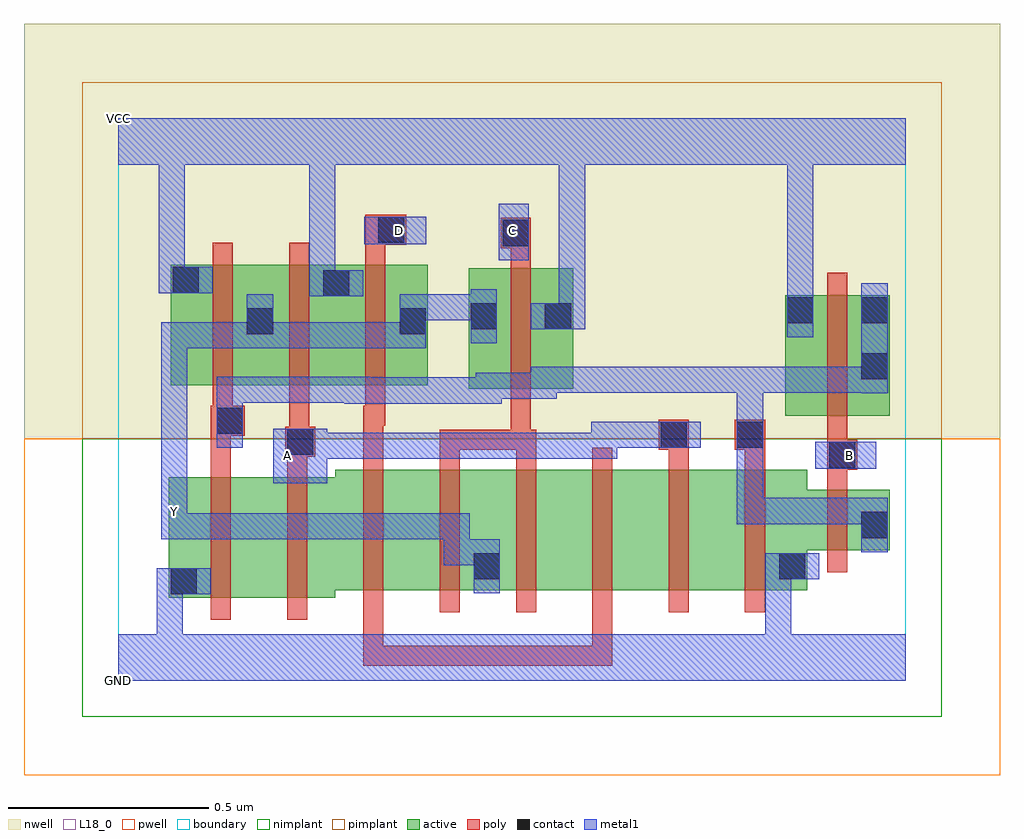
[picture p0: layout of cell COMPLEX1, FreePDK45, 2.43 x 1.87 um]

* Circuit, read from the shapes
.subckt COMPLEX1 A B C D GND VCC Y
M1 n1 n2 GND VSUBS nfet w=0.3u l=0.05u
M2 n3 A n1 VSUBS nfet w=0.3u l=0.05u
M3 n4 D n3 VSUBS nfet w=0.3u l=0.05u
M4 Y C n4 VSUBS nfet w=0.3u l=0.05u
M5 n5 C Y VSUBS nfet w=0.3u l=0.05u
M6 n6 D n5 VSUBS nfet w=0.3u l=0.05u
M7 n7 A n6 VSUBS nfet w=0.3u l=0.05u
M8 GND n2 n7 VSUBS nfet w=0.3u l=0.05u
M9 n2 B GND VSUBS nfet w=0.15u l=0.05u
M10 Y n2 VCC n8 pfet w=0.3u l=0.05u
M11 VCC A Y n8 pfet w=0.3u l=0.05u
M12 Y D VCC n8 pfet w=0.3u l=0.05u
M13 VCC C Y n8 pfet w=0.3u l=0.05u
M14 n2 B VCC n8 pfet w=0.3u l=0.05u
.ends

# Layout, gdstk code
import gdstk
lib = gdstk.Library(unit=1e-6, precision=1e-09)
def R(c, l, rs):  # rectangles x0, y0, x1, y1
    for r in rs: c.add(gdstk.rectangle(r[:2], r[2:], *l))
def A(c, l, x, y, w, h, nx, ny, dx, dy):  # array of equal rectangles
    R(c, l, [(x+i*dx, y+j*dy, x+i*dx+w, y+j*dy+h) for i in range(nx) for j in range(ny)])
active = (1, 0)
pwell = (2, 0)
nwell = (3, 0)
nimplant = (4, 0)
pimplant = (5, 0)
poly = (9, 0)
contact = (10, 0)
metal1 = (11, 0)
L18_0 = (18, 0)
boundary = (235, 0)

complex1 = lib.new_cell('COMPLEX1')
R(complex1, active, [(0.125,0.207,0.35,0.507), (0.35,0.207,0.54,0.507), (0.125,0.21,0.2,0.507), (0.54,0.225,0.73,0.525), (0.73,0.225,0.955,0.525), (0.88,0.225,1.11,0.525), (0.88,0.225,0.955,0.517), (1.11,0.225,1.3,0.525), (1.3,0.225,1.49,0.525), (1.49,0.225,1.715,0.525), (1.64,0.247,1.715,0.325), (1.64,0.325,1.92,0.475), (1.845,0.35,1.92,0.475), (1.66,0.66,1.735,0.96), (1.66,0.66,1.92,0.96), (1.845,0.66,1.92,0.96), (0.872,0.727,1.132,1.027), (0.872,0.727,0.947,0.967), (1.057,0.727,1.132,0.967), (0.13,0.735,0.205,1.035), (0.13,0.735,0.39,1.035), (0.315,0.735,0.58,1.035), (0.505,0.735,0.77,1.035), (0.695,0.735,0.77,0.957), (0.505,0.832,0.58,1.027), (0.315,0.857,0.39,0.957)])
R(complex1, pwell, [(-0.235,-0.235,2.195,0.602)])
R(complex1, nwell, [(-0.235,0.602,2.195,1.635)])
R(complex1, nimplant, [(-0.09,-0.09,2.05,0.602)])
R(complex1, pimplant, [(-0.09,0.602,2.05,1.49)])
A(complex1, poly, 0.61, 0.17, 0.05, 0.41, 6, 1, 0.19, 0)
A(complex1, poly, 0.235, 0.68, 0.05, 0.41, 3, 1, 0.19, 0)
R(complex1, poly, [(0.61,0.037,0.66,0.22), (0.61,0.037,0.66,0.087), (0.61,0.037,0.66,0.087), (0.61,0.037,0.66,0.087), (0.61,0.037,0.87,0.087), (0.82,0.037,0.87,0.087), (0.82,0.037,0.87,0.087), (0.82,0.037,0.87,0.087), (0.82,0.037,1.097,0.087), (1.047,0.037,1.23,0.087), (1.047,0.037,1.097,0.087), (1.047,0.037,1.097,0.087), (1.047,0.037,1.097,0.087), (1.18,0.037,1.23,0.22), (1.18,0.037,1.23,0.087), (0.23,0.152,0.28,0.562), (0.42,0.152,0.47,0.562), (1.765,0.27,1.815,0.53), (1.765,0.48,1.815,0.575), (0.23,0.512,0.28,0.66), (0.42,0.512,0.47,0.607), (1.765,0.525,1.84,0.6), (0.61,0.53,0.66,0.685), (0.8,0.53,0.85,0.625), (0.99,0.53,1.04,0.625), (1.37,0.53,1.42,0.625), (1.56,0.53,1.61,0.625), (1.765,0.55,1.815,0.655), (0.415,0.557,0.49,0.632), (0.8,0.575,0.85,0.625), (0.8,0.575,0.85,0.625), (0.8,0.575,0.85,0.625), (0.8,0.575,1.027,0.625), (0.977,0.575,1.027,0.722), (0.977,0.575,1.04,0.625), (1.345,0.575,1.42,0.65), (1.535,0.575,1.61,0.65), (0.425,0.582,0.475,0.73), (1.765,0.605,1.815,1.015), (0.23,0.61,0.315,0.685), (0.235,0.635,0.285,0.73), (0.61,0.635,0.665,0.685), (0.615,0.635,0.665,0.73), (0.977,0.672,1.027,1.082), (0.977,1.032,1.027,1.127), (0.615,1.04,0.665,1.135), (0.952,1.077,1.027,1.152), (0.615,1.085,0.717,1.16)])
R(complex1, contact, [(0.13,0.215,0.195,0.28), (0.885,0.252,0.95,0.317), (1.645,0.252,1.71,0.317), (1.85,0.355,1.915,0.42), (1.77,0.53,1.835,0.595), (0.42,0.562,0.485,0.627), (1.35,0.58,1.415,0.645), (1.54,0.58,1.605,0.645), (0.245,0.615,0.31,0.68), (1.85,0.75,1.915,0.815), (0.32,0.862,0.385,0.927), (0.7,0.862,0.765,0.927), (0.877,0.875,0.942,0.94), (1.062,0.875,1.127,0.94), (1.665,0.89,1.73,0.955), (1.85,0.89,1.915,0.955), (0.51,0.957,0.575,1.022), (0.135,0.965,0.2,1.03), (0.957,1.082,1.022,1.147), (0.647,1.09,0.712,1.155)])
R(complex1, metal1, [(0,0,1.96,0.115), (0.095,0.05,0.16,0.28), (1.61,0.05,1.675,0.317), (0.095,0.215,0.16,0.28), (0.095,0.215,0.16,0.28), (0.095,0.215,0.23,0.28), (0.885,0.217,0.95,0.352), (1.61,0.252,1.675,0.317), (1.61,0.252,1.675,0.317), (1.61,0.252,1.745,0.317), (0.81,0.287,0.95,0.352), (0.81,0.287,0.875,0.417), (1.85,0.32,1.915,0.455), (0.107,0.352,0.172,0.417), (0.107,0.352,0.172,0.417), (0.107,0.352,0.172,0.417), (0.107,0.352,0.172,0.417), (0.107,0.352,0.172,0.487), (0.107,0.352,0.352,0.417), (0.287,0.352,0.352,0.417), (0.287,0.352,0.522,0.417), (0.457,0.352,0.522,0.417), (0.457,0.352,0.522,0.417), (0.457,0.352,0.522,0.417), (0.457,0.352,0.737,0.417), (0.672,0.352,0.737,0.417), (0.672,0.352,0.765,0.417), (0.7,0.352,0.765,0.417), (0.7,0.352,0.875,0.417), (1.54,0.39,1.605,0.455), (1.54,0.39,1.915,0.455), (1.54,0.39,1.605,0.68), (1.85,0.39,1.915,0.455), (1.85,0.39,1.915,0.455), (0.107,0.422,0.172,0.487), (0.107,0.422,0.172,0.487), (0.107,0.422,0.172,0.892), (0.385,0.492,0.52,0.627), (1.735,0.527,1.887,0.595), (1.54,0.545,1.605,0.68), (0.455,0.552,0.6,0.617), (0.535,0.552,0.6,0.617), (0.535,0.552,0.66,0.617), (0.595,0.552,0.66,0.617), (0.595,0.552,0.765,0.617), (0.7,0.552,0.765,0.617), (0.7,0.552,0.875,0.617), (0.81,0.552,0.875,0.617), (0.81,0.552,0.955,0.617), (0.89,0.552,0.955,0.617), (0.89,0.552,1.092,0.617), (1.027,0.552,1.092,0.617), (1.027,0.552,1.092,0.617), (1.027,0.552,1.092,0.617), (1.027,0.552,1.242,0.617), (1.177,0.552,1.242,0.617), (1.177,0.552,1.242,0.617), (1.177,0.552,1.242,0.645), (0.245,0.58,0.31,0.715), (1.177,0.58,1.38,0.645), (1.315,0.58,1.45,0.645), (1.54,0.615,1.605,0.68), (1.54,0.615,1.605,0.68), (1.54,0.615,1.605,0.782), (0.245,0.65,0.31,0.715), (0.245,0.65,0.31,0.715), (0.245,0.65,0.31,0.757), (0.562,0.69,0.737,0.755), (0.562,0.69,0.627,0.757), (0.672,0.69,0.737,0.755), (0.672,0.69,0.805,0.755), (0.74,0.69,0.805,0.755), (0.74,0.69,0.875,0.755), (0.81,0.69,0.875,0.755), (0.81,0.69,0.955,0.755), (0.89,0.69,0.955,0.767), (0.245,0.692,0.31,0.757), (0.245,0.692,0.49,0.757), (0.425,0.692,0.49,0.757), (0.425,0.692,0.627,0.757), (0.89,0.702,1.092,0.767), (1.027,0.702,1.092,0.767), (1.027,0.702,1.092,0.767), (1.027,0.702,1.092,0.782), (1.85,0.715,1.915,0.99), (1.027,0.717,1.242,0.782), (1.177,0.717,1.242,0.782), (1.177,0.717,1.242,0.782), (1.177,0.717,1.242,0.782), (1.177,0.717,1.467,0.782), (1.402,0.717,1.467,0.782), (1.402,0.717,1.467,0.782), (1.402,0.717,1.467,0.782), (1.402,0.717,1.605,0.782), (1.54,0.717,1.605,0.782), (1.54,0.717,1.605,0.782), (1.54,0.717,1.605,0.782), (1.54,0.717,1.915,0.782), (1.85,0.717,1.915,0.782), (1.85,0.717,1.915,0.782), (0.107,0.827,0.172,0.892), (0.107,0.827,0.172,0.892), (0.107,0.827,0.172,0.892), (0.107,0.827,0.385,0.892), (0.32,0.827,0.385,0.962), (0.32,0.827,0.522,0.892), (0.457,0.827,0.522,0.892), (0.457,0.827,0.522,0.892), (0.457,0.827,0.522,0.892), (0.457,0.827,0.737,0.892), (0.672,0.827,0.737,0.892), (0.672,0.827,0.765,0.892), (0.7,0.827,0.765,0.962), (0.877,0.84,0.942,0.975), (1.665,0.855,1.73,0.99), (1.027,0.875,1.162,0.94), (1.097,0.875,1.162,0.94), (1.097,0.875,1.162,0.94), (1.097,0.875,1.162,1.35), (0.7,0.897,0.875,0.962), (0.81,0.897,0.875,0.962), (0.81,0.897,0.942,0.962), (1.665,0.925,1.73,0.99), (1.665,0.925,1.73,0.99), (1.665,0.925,1.73,1.35), (0.475,0.957,0.61,1.022), (0.475,0.957,0.54,1.35), (0.1,0.965,0.165,1.03), (0.1,0.965,0.165,1.03), (0.1,0.965,0.165,1.03), (0.1,0.965,0.165,1.03), (0.1,0.965,0.235,1.03), (0.1,0.965,0.165,1.35), (0.947,1.047,1.022,1.187), (0.612,1.087,0.767,1.155), (0,1.285,1.96,1.4), (0.475,1.285,0.54,1.35), (0.475,1.285,0.54,1.35), (0.475,1.285,0.54,1.35), (0.475,1.285,0.54,1.35), (1.097,1.285,1.162,1.35), (1.097,1.285,1.162,1.35), (1.665,1.285,1.73,1.35), (1.665,1.285,1.73,1.35)])
A(complex1, L18_0, 0.107, 0.352, 0.065, 0.065, 1, 3, 0, 0.035)
R(complex1, L18_0, [(0,0,1.96,0.115), (0.095,0.05,0.16,0.28), (1.61,0.05,1.675,0.317), (0.095,0.215,0.16,0.28), (0.095,0.215,0.16,0.28), (0.095,0.215,0.23,0.28), (0.885,0.217,0.95,0.352), (1.61,0.252,1.675,0.317), (1.61,0.252,1.675,0.317), (1.61,0.252,1.745,0.317), (0.81,0.287,0.875,0.417), (0.81,0.287,0.95,0.352), (0.107,0.352,0.172,0.417), (0.107,0.352,0.172,0.417), (0.107,0.352,0.172,0.417), (0.107,0.352,0.172,0.487), (0.107,0.352,0.352,0.417), (0.287,0.352,0.352,0.417), (0.287,0.352,0.522,0.417), (0.457,0.352,0.522,0.417), (0.457,0.352,0.522,0.417), (0.457,0.352,0.522,0.417), (0.457,0.352,0.737,0.417), (0.672,0.352,0.737,0.417), (0.672,0.352,0.765,0.417), (0.7,0.352,0.765,0.417), (0.7,0.352,0.875,0.417), (0.107,0.422,0.172,0.487), (0.107,0.422,0.172,0.892), (0.385,0.492,0.52,0.627), (0.387,0.527,0.452,0.592), (1.735,0.527,1.887,0.595), (1.787,0.527,1.852,0.592), (0.455,0.552,0.6,0.617), (0.535,0.552,0.6,0.617), (0.535,0.552,0.66,0.617), (0.595,0.552,0.66,0.617), (0.595,0.552,0.765,0.617), (0.7,0.552,0.765,0.617), (0.7,0.552,0.875,0.617), (0.81,0.552,0.875,0.617), (0.81,0.552,0.955,0.617), (0.89,0.552,0.955,0.617), (0.89,0.552,1.092,0.617), (1.027,0.552,1.092,0.617), (1.027,0.552,1.092,0.617), (1.027,0.552,1.092,0.617), (1.027,0.552,1.242,0.617), (1.177,0.552,1.242,0.617), (1.177,0.552,1.242,0.617), (1.177,0.552,1.242,0.645), (1.177,0.58,1.38,0.645), (1.315,0.58,1.45,0.645), (0.107,0.827,0.172,0.892), (0.107,0.827,0.172,0.892), (0.107,0.827,0.172,0.892), (0.107,0.827,0.385,0.892), (0.32,0.827,0.385,0.962), (0.32,0.827,0.522,0.892), (0.457,0.827,0.522,0.892), (0.457,0.827,0.522,0.892), (0.457,0.827,0.522,0.892), (0.457,0.827,0.737,0.892), (0.672,0.827,0.737,0.892), (0.672,0.827,0.765,0.892), (0.7,0.827,0.765,0.962), (0.877,0.84,0.942,0.975), (1.665,0.855,1.73,0.99), (1.027,0.875,1.162,0.94), (1.097,0.875,1.162,0.94), (1.097,0.875,1.162,0.94), (1.097,0.875,1.162,1.35), (0.7,0.897,0.875,0.962), (0.81,0.897,0.875,0.962), (0.81,0.897,0.942,0.962), (1.665,0.925,1.73,0.99), (1.665,0.925,1.73,0.99), (1.665,0.925,1.73,1.35), (0.475,0.957,0.61,1.022), (0.475,0.957,0.54,1.35), (0.1,0.965,0.165,1.03), (0.1,0.965,0.165,1.03), (0.1,0.965,0.165,1.03), (0.1,0.965,0.165,1.03), (0.1,0.965,0.235,1.03), (0.1,0.965,0.165,1.35), (0.947,1.047,1.022,1.187), (0.612,1.087,0.767,1.155), (0.667,1.087,0.732,1.152), (0.947,1.087,1.012,1.152), (0,1.285,1.96,1.4), (0.475,1.285,0.54,1.35), (0.475,1.285,0.54,1.35), (0.475,1.285,0.54,1.35), (0.475,1.285,0.54,1.35), (1.097,1.285,1.162,1.35), (1.097,1.285,1.162,1.35), (1.665,1.285,1.73,1.35), (1.665,1.285,1.73,1.35)])
R(complex1, boundary, [(0,0,1.96,1.4)])
complex1.add(gdstk.Label('A', (0.42,0.56), layer=11, texttype=0))
complex1.add(gdstk.Label('B', (1.82,0.56), layer=11, texttype=0))
complex1.add(gdstk.Label('C', (0.98,1.12), layer=11, texttype=0))
complex1.add(gdstk.Label('D', (0.7,1.12), layer=11, texttype=0))
complex1.add(gdstk.Label('Y', (0.14,0.42), layer=11, texttype=0))
complex1.add(gdstk.Label('VCC', (0,1.4), layer=11, texttype=0))
complex1.add(gdstk.Label('GND', (0,0), layer=11, texttype=0))

lib.write_gds('COMPLEX1.gds')
